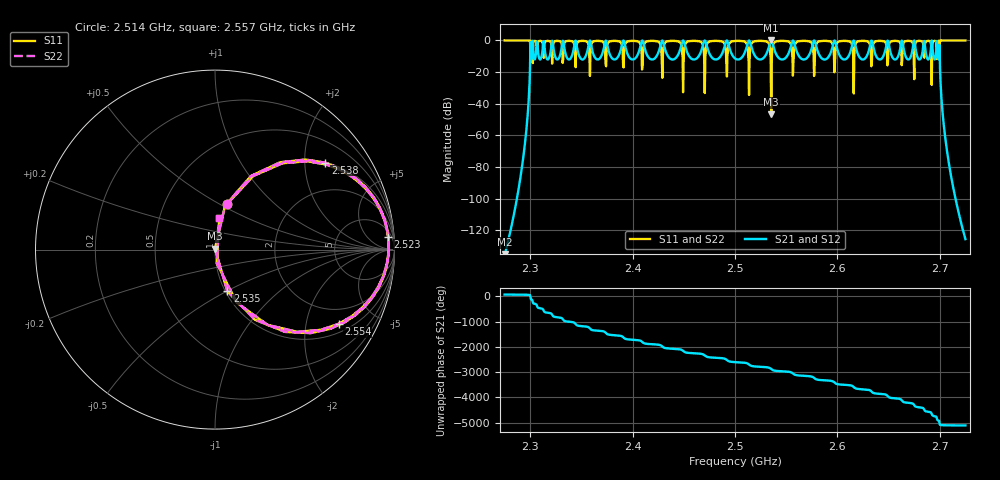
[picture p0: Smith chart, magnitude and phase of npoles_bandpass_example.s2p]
# GHz S RI R 50
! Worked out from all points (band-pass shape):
!   1000 points, 2.275 GHz to 2.725 GHz, reference 50 ohm
!   highest |S21| = 0.00 dB at 2.535 GHz (marker M1); lowest = -136.0 dB at 2.275 GHz (marker M2)
!   |S21| within 3 dB of the highest: 2.49019 GHz to 2.493785 GHz (3.595 MHz wide, 0.144 % of centre); 2.554917 GHz to 2.558411 GHz (3.494 MHz wide, 0.137 % of centre)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
!   lowest |S11| = -46.6 dB at 2.535 GHz (marker M3), VSWR 1.01, Z = 50 + j0.466 ohm
!   |S11| at or under -10 dB: 2.448762 GHz to 2.449984 GHz (1.221 MHz wide, 0.0499 % of centre); 2.513059 GHz to 2.514339 GHz (1.28 MHz wide, 0.0509 % of centre); 2.534716 GHz to 2.535985 GHz (1.27 MHz wide, 0.0501 % of centre)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
!   |S22| runs from -46.6 to 0.0 dB; largest |S21 - S12| = 0
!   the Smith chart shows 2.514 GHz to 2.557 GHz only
!   S11 on the Smith chart (normalised r, x): 2.514 GHz: 1.00, +0.54; 2.523 GHz: 10, +22; 2.535 GHz: 1.02, -0.50; 2.538 GHz: 1.01, +2.53; 2.554 GHz: 1.32, -3.08; 2.557 GHz: 0.98, +0.36
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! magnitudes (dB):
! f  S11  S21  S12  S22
! 2.275 GHz  0.0  -136.0  -136.0  0.0
! 2.292 GHz  0.0  -79.3  -79.3  0.0
! 2.302 GHz  -14.3  -0.2  -0.2  -14.3
! 2.35 GHz  -0.3  -11.9  -11.9  -0.3
! 2.425 GHz  -0.8  -7.9  -7.9  -0.8
! 2.461 GHz  -0.3  -12.0  -12.0  -0.3
! 2.47 GHz  -33.2  0.0  0.0  -33.2
! 2.482 GHz  -0.3  -12.0  -12.0  -0.3
! 2.492 GHz  -22.8  0.0  0.0  -22.8
! 2.5 GHz  -0.3  -11.4  -11.4  -0.3
! 2.514 GHz  -11.6  -0.3  -0.3  -11.6
! 2.523 GHz  -0.3  -11.9  -11.9  -0.3
! 2.535 GHz  -12.3  -0.3  -0.3  -12.3
! 2.535 GHz  -46.6  0.0  0.0  -46.6
! 2.538 GHz  -2.1  -4.1  -4.1  -2.1
! 2.554 GHz  -1.9  -4.5  -4.5  -1.9
! 2.557 GHz  -14.9  -0.1  -0.1  -14.9
! 2.575 GHz  -1.8  -4.7  -4.7  -1.8
! 2.65 GHz  -3.3  -2.7  -2.7  -3.3
! 2.698 GHz  -2.3  -3.9  -3.9  -2.3
! 2.709 GHz  0.0  -77.3  -77.3  0.0
! 2.725 GHz  0.0  -125.5  -125.5  0.0
